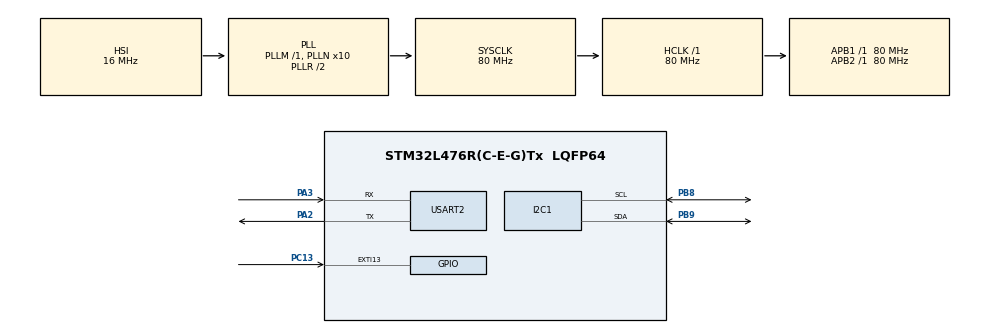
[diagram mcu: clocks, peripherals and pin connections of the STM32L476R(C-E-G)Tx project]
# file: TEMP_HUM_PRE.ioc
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I2C1.Timing=0x10D19CE4
Mcu.Family=STM32L4
Mcu.Name=STM32L476R(C-E-G)Tx
Mcu.Package=LQFP64
NVIC.PriorityGroup=NVIC_PRIORITYGROUP_4
PA2.Mode=Asynchronous
PA2.Signal=USART2_TX
PA3.Mode=Asynchronous
PA3.Signal=USART2_RX
PB8.Mode=I2C
PB8.Signal=I2C1_SCL
PB9.Mode=I2C
PB9.Signal=I2C1_SDA
PC13.Signal=GPXTI13
ProjectManager.HeapSize=0x200
ProjectManager.StackSize=0x400
ProjectManager.TargetToolchain=STM32CubeIDE
RCC.ADCFreq_Value=64000000
RCC.AHBFreq_Value=80000000
RCC.APB1Freq_Value=80000000
RCC.APB1TimFreq_Value=80000000
RCC.APB2Freq_Value=80000000
RCC.APB2TimFreq_Value=80000000
RCC.CortexFreq_Value=80000000
RCC.HCLKFreq_Value=80000000
RCC.HSE_VALUE=8000000
RCC.HSI_VALUE=16000000
RCC.LSE_VALUE=32768
RCC.MSI_VALUE=4000000
RCC.PLLN=10
RCC.PLLSourceVirtual=RCC_PLLSOURCE_HSI
RCC.PREFETCH_ENABLE=1
RCC.SYSCLKFreq_VALUE=80000000
RCC.SYSCLKSource=RCC_SYSCLKSOURCE_PLLCLK
RCC.USBFreq_Value=64000000
RCC.VCOOutputFreq_Value=160000000
USART2.VirtualMode-Asynchronous=VM_ASYNC
board=NUCLEO-L476RG

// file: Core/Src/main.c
/* USER CODE BEGIN Header */
/**
  ******************************************************************************
  * @file           : main.c
  * @brief          : Main program body
  ******************************************************************************
  * @attention
  *
  * Copyright (c) 2025 STMicroelectronics.
  * All rights reserved.
  *
  * This software is licensed under terms that can be found in the LICENSE file
  * in the root directory of this software component.
  * If no LICENSE file comes with this software, it is provided AS-IS.
  *
  ******************************************************************************
  */
/* USER CODE END Header */
#include "main.h"
#include "i2c.h"
#include "usart.h"
#include "gpio.h"

/* USER CODE BEGIN Includes */
#ifdef __GNUC__
#define PUTCHAR_PROTOTYPE int __io_putchar(int ch)
#else
#define PUTCHAR_PROTOTYPE int fputc(int ch, FILE *f)
#endif /* __GNUC__ */

#include <string.h>
#include <stdio.h>

#include "hts221_reg.h"
#include "lps22hh_reg.h"

/* USER CODE END Includes */

/* USER CODE BEGIN PV */
static int16_t hts221_data_raw_humidity;
static int16_t hts221_data_raw_temperature;

static float_t hts221_humidity_perc;
static float_t hts221_temperature_degC;

static uint8_t hts221_whoamI;
static uint8_t hts221_tx_buffer[1000];

static uint32_t lps22hh_data_raw_pressure;
static int16_t lps22hh_data_raw_temperature;
static float_t lps22hh_pressure_hPa;
static float_t lps22hh_temperature_degC;
static uint8_t lps22hh_whoamI, lps22hh_rst;
static uint8_t lps22hh_tx_buffer[1000];
/* USER CODE END PV */

void SystemClock_Config(void);
/* USER CODE BEGIN PFP */
static int32_t hts221_platform_write(void *handle, uint8_t reg, const uint8_t *bufp,
                              uint16_t len);
static int32_t hts221_platform_read(void *handle, uint8_t reg, uint8_t *bufp,
                             uint16_t len);
typedef struct {
  float_t x0;
  float_t y0;
  float_t x1;
  float_t y1;
} lin_t;

float_t linear_interpolation(lin_t *lin, int16_t x)
{
  return ((lin->y1 - lin->y0) * x + ((lin->x1 * lin->y0) -
                                     (lin->x0 * lin->y1)))
         / (lin->x1 - lin->x0);
}

void i2c_detect();

static int32_t lps22hh_platform_write(void *handle, uint8_t reg, const uint8_t *bufp,
                              uint16_t len);
static int32_t lps22hh_platform_read(void *handle, uint8_t reg, uint8_t *bufp,
                             uint16_t len);

/* USER CODE END PFP */

int main(void)
{

  /* MCU Configuration--------------------------------------------------------*/

  /* Reset of all peripherals, Initializes the Flash interface and the Systick. */
  HAL_Init();

  /* USER CODE BEGIN Init */
  stmdev_ctx_t hts221_dev_ctx;
  hts221_dev_ctx.write_reg = hts221_platform_write;
  hts221_dev_ctx.read_reg = hts221_platform_read;
  hts221_dev_ctx.mdelay = HAL_Delay;
  hts221_dev_ctx.handle = &hi2c1;

  stmdev_ctx_t lps22hh_dev_ctx;
  lps22hh_dev_ctx.write_reg = lps22hh_platform_write;
  lps22hh_dev_ctx.read_reg = lps22hh_platform_read;
  lps22hh_dev_ctx.mdelay = HAL_Delay;
  lps22hh_dev_ctx.handle = &hi2c1;

  /* USER CODE END Init */

  /* Configure the system clock */
  SystemClock_Config();

  /* Initialize all configured peripherals */
  MX_GPIO_Init();
  MX_I2C1_Init();
  MX_USART2_UART_Init();
  /* USER CODE BEGIN 2 */

  printf("Main started\r\n");
  i2c_detect();
  HAL_Delay(100);

  hts221_whoamI = 0;
  hts221_device_id_get(&hts221_dev_ctx, &hts221_whoamI);

  printf("whoamI = %d, HTS221_ID = %d\r\n", hts221_whoamI, HTS221_ID);

  if ( hts221_whoamI != HTS221_ID )
    while (1); /*manage here device not found */

  /* Read humidity calibration coefficient */
  lin_t lin_hum;
  hts221_hum_adc_point_0_get(&hts221_dev_ctx, &lin_hum.x0);
  hts221_hum_rh_point_0_get(&hts221_dev_ctx, &lin_hum.y0);
  hts221_hum_adc_point_1_get(&hts221_dev_ctx, &lin_hum.x1);
  hts221_hum_rh_point_1_get(&hts221_dev_ctx, &lin_hum.y1);
  /* Read temperature calibration coefficient */
  lin_t lin_temp;
  hts221_temp_adc_point_0_get(&hts221_dev_ctx, &lin_temp.x0);
  hts221_temp_deg_point_0_get(&hts221_dev_ctx, &lin_temp.y0);
  hts221_temp_adc_point_1_get(&hts221_dev_ctx, &lin_temp.x1);
  hts221_temp_deg_point_1_get(&hts221_dev_ctx, &lin_temp.y1);
  /* Enable Block Data Update */
  hts221_block_data_update_set(&hts221_dev_ctx, PROPERTY_ENABLE);
  /* Set Output Data Rate */
  hts221_data_rate_set(&hts221_dev_ctx, HTS221_ODR_1Hz);
  /* Device power on */
  hts221_power_on_set(&hts221_dev_ctx, PROPERTY_ENABLE);

  lps22hh_whoamI = 0;
  lps22hh_device_id_get(&lps22hh_dev_ctx, &lps22hh_whoamI);

  if ( lps22hh_whoamI != LPS22HH_ID )
    while (1); /*manage here device not found */

  /* Restore default configuration */
  lps22hh_reset_set(&lps22hh_dev_ctx, PROPERTY_ENABLE);

  do {
    lps22hh_reset_get(&lps22hh_dev_ctx, &lps22hh_rst);
  } while (lps22hh_rst);

  /* Enable Block Data Update */
  lps22hh_block_data_update_set(&lps22hh_dev_ctx, PROPERTY_ENABLE);
  /* Set Output Data Rate */
  lps22hh_data_rate_set(&lps22hh_dev_ctx, LPS22HH_10_Hz_LOW_NOISE);

  /* USER CODE END 2 */

  /* Infinite loop */
  while (1)
  {

    /* USER CODE BEGIN 3 */
	  hts221_status_reg_t hts221_status;
	  hts221_status_get(&hts221_dev_ctx, &hts221_status);

	  if (hts221_status.h_da) {
	    /* Read humidity data */
	    memset(&hts221_data_raw_humidity, 0x00, sizeof(int16_t));
	    hts221_humidity_raw_get(&hts221_dev_ctx, &hts221_data_raw_humidity);
	    hts221_humidity_perc = linear_interpolation(&lin_hum, hts221_data_raw_humidity);

	    if (hts221_humidity_perc < 0) {
	    	hts221_humidity_perc = 0;
	    }

	    if (hts221_humidity_perc > 100) {
	    	hts221_humidity_perc = 100;
        }

	    printf("Humidity [%%]:%3.2f\r\n", hts221_humidity_perc);
	    printf((char *)hts221_tx_buffer);
	  }

	  if (hts221_status.t_da) {
	    /* Read temperature data */
	    memset(&hts221_data_raw_temperature, 0x00, sizeof(int16_t));
	    hts221_temperature_raw_get(&hts221_dev_ctx, &hts221_data_raw_temperature);
	    hts221_temperature_degC = linear_interpolation(&lin_temp,
	    		hts221_data_raw_temperature);
	    printf("Temperature [degC]:%6.2f\r\n", hts221_temperature_degC);
	    printf((char *)hts221_tx_buffer);
	  }

	  lps22hh_status_t lps22hh_status;
	  lps22hh_read_reg(&lps22hh_dev_ctx, LPS22HH_STATUS, (uint8_t *)&lps22hh_status, 1);

	  if (lps22hh_status.p_da) {
	    memset(&lps22hh_data_raw_pressure, 0x00, sizeof(uint32_t));
	    lps22hh_pressure_raw_get(&lps22hh_dev_ctx, &lps22hh_data_raw_pressure);
	    lps22hh_pressure_hPa = lps22hh_from_lsb_to_hpa( lps22hh_data_raw_pressure);
	    printf("pressure [hPa]:%6.2f\r\n", lps22hh_pressure_hPa);
	    printf( (char *)lps22hh_tx_buffer);
	  }

	  if (lps22hh_status.t_da) {
	    memset(&lps22hh_data_raw_temperature, 0x00, sizeof(int16_t));
	    lps22hh_temperature_raw_get(&lps22hh_dev_ctx, &lps22hh_data_raw_temperature);
	    lps22hh_temperature_degC = lps22hh_from_lsb_to_celsius( lps22hh_data_raw_temperature );
	    printf("temperature [degC]:%6.2f\r\n", lps22hh_temperature_degC );
	    printf( (char *)lps22hh_tx_buffer);
	  }

	  HAL_Delay(10000);
  }
  /* USER CODE END 3 */
}

void SystemClock_Config(void)
{
  RCC_OscInitTypeDef RCC_OscInitStruct = {0};
  RCC_ClkInitTypeDef RCC_ClkInitStruct = {0};

  /** Configure the main internal regulator output voltage
  */
  if (HAL_PWREx_ControlVoltageScaling(PWR_REGULATOR_VOLTAGE_SCALE1) != HAL_OK)
  {
    Error_Handler();
  }

  /** Initializes the RCC Oscillators according to the specified parameters
  * in the RCC_OscInitTypeDef structure.
  */
  RCC_OscInitStruct.OscillatorType = RCC_OSCILLATORTYPE_HSI;
  RCC_OscInitStruct.HSIState = RCC_HSI_ON;
  RCC_OscInitStruct.HSICalibrationValue = RCC_HSICALIBRATION_DEFAULT;
  RCC_OscInitStruct.PLL.PLLState = RCC_PLL_ON;
  RCC_OscInitStruct.PLL.PLLSource = RCC_PLLSOURCE_HSI;
  RCC_OscInitStruct.PLL.PLLM = 1;
  RCC_OscInitStruct.PLL.PLLN = 10;
  RCC_OscInitStruct.PLL.PLLP = RCC_PLLP_DIV7;
  RCC_OscInitStruct.PLL.PLLQ = RCC_PLLQ_DIV2;
  RCC_OscInitStruct.PLL.PLLR = RCC_PLLR_DIV2;
  if (HAL_RCC_OscConfig(&RCC_OscInitStruct) != HAL_OK)
  {
    Error_Handler();
  }

  /** Initializes the CPU, AHB and APB buses clocks
  */
  RCC_ClkInitStruct.ClockType = RCC_CLOCKTYPE_HCLK|RCC_CLOCKTYPE_SYSCLK
                              |RCC_CLOCKTYPE_PCLK1|RCC_CLOCKTYPE_PCLK2;
  RCC_ClkInitStruct.SYSCLKSource = RCC_SYSCLKSOURCE_PLLCLK;
  RCC_ClkInitStruct.AHBCLKDivider = RCC_SYSCLK_DIV1;
  RCC_ClkInitStruct.APB1CLKDivider = RCC_HCLK_DIV1;
  RCC_ClkInitStruct.APB2CLKDivider = RCC_HCLK_DIV1;

  if (HAL_RCC_ClockConfig(&RCC_ClkInitStruct, FLASH_LATENCY_4) != HAL_OK)
  {
    Error_Handler();
  }
}

/* USER CODE BEGIN 4 */
PUTCHAR_PROTOTYPE
{
	HAL_UART_Transmit(&huart2, (uint8_t *)&ch, 1, 100);
	return ch;
}
static int32_t hts221_platform_write(void *handle, uint8_t reg, const uint8_t *bufp,
                              uint16_t len)
{
  reg |= 0x80;
  HAL_I2C_Mem_Write(handle, HTS221_I2C_ADDRESS, reg,
                    I2C_MEMADD_SIZE_8BIT, (uint8_t*) bufp, len, 1000);

  return 0;
}
static int32_t hts221_platform_read(void *handle, uint8_t reg, uint8_t *bufp,
                             uint16_t len)
{
  reg |= 0x80;
  HAL_I2C_Mem_Read(handle, HTS221_I2C_ADDRESS, reg,
                   I2C_MEMADD_SIZE_8BIT, bufp, len, 1000);
  return 0;
}

void i2c_detect(){
	uint8_t devices = 0;

	printf("Searching devices ...\n\r");
	for(uint8_t i = 0x03 ; i < 0x78 ; i++){
		uint8_t adress = i <<1;
		if(HAL_OK == HAL_I2C_IsDeviceReady(&hi2c1, adress, i, 10)){
			printf("devices at address 0x%x\n\r", i);
			devices++;
		}
	}
	if(devices == 0) printf("No devices found\n\r");
}

static int32_t lps22hh_platform_write(void *handle, uint8_t reg, const uint8_t *bufp,
                              uint16_t len)
{
  HAL_I2C_Mem_Write(handle, LPS22HH_I2C_ADD_H, reg,
                    I2C_MEMADD_SIZE_8BIT, (uint8_t*) bufp, len, 1000);
  return 0;
}

static int32_t lps22hh_platform_read(void *handle, uint8_t reg, uint8_t *bufp,
                             uint16_t len)
{
  HAL_I2C_Mem_Read(handle, LPS22HH_I2C_ADD_H, reg,
                   I2C_MEMADD_SIZE_8BIT, bufp, len, 1000);
  return 0;
}

/* USER CODE END 4 */

void Error_Handler(void)
{
  __disable_irq();
  while (1)
  {
  }
}
